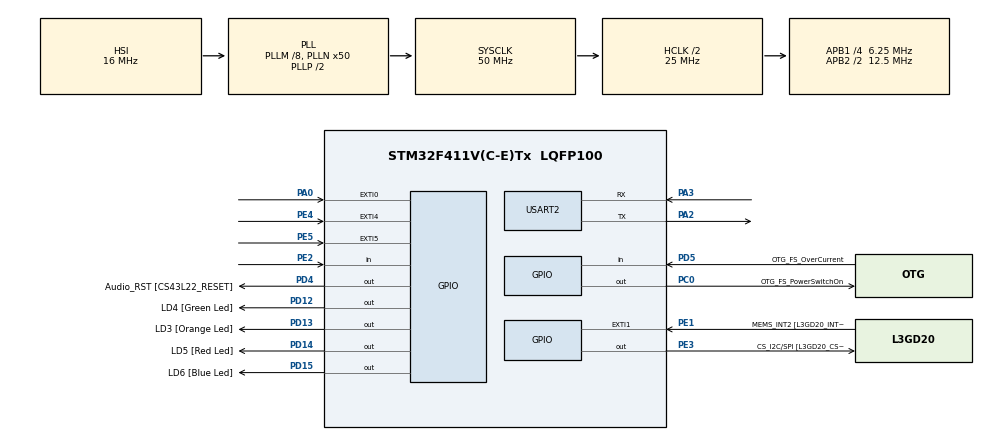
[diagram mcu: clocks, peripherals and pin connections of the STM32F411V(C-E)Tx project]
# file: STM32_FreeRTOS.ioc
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Mcu.Family=STM32F4
Mcu.Name=STM32F411V(C-E)Tx
Mcu.Package=LQFP100
NVIC.PriorityGroup=NVIC_PRIORITYGROUP_4
NVIC.TIM5_IRQn=true\:15\:0\:false\:false\:true\:false\:true\:true
NVIC.TimeBase=TIM5_IRQn
NVIC.TimeBaseIP=TIM5
NVIC.USART2_IRQn=true\:6\:0\:true\:false\:true\:true\:true\:true
PA0-WKUP.GPIO_ModeDefaultEXTI=GPIO_MODE_EVT_RISING
PA0-WKUP.Signal=GPXTI0
PA10.GPIO_Label=OTG_FS_ID
PA10.Signal=USB_OTG_FS_ID
PA11.GPIO_Label=OTG_FS_DM
PA11.Signal=USB_OTG_FS_DM
PA12.GPIO_Label=OTG_FS_DP
PA12.Signal=USB_OTG_FS_DP
PA13.GPIO_Label=SWDIO
PA13.Signal=SYS_JTMS-SWDIO
PA14.GPIO_Label=SWCLK
PA14.Signal=SYS_JTCK-SWCLK
PA2.Mode=Asynchronous
PA2.Signal=USART2_TX
PA3.Mode=Asynchronous
PA3.Signal=USART2_RX
PA4.GPIO_Label=I2S3_WS [CS43L22_LRCK]
PA4.GPIO_Mode=GPIO_MODE_AF_PP
PA4.GPIO_PuPd=GPIO_NOPULL
PA4.GPIO_Speed=GPIO_SPEED_FREQ_LOW
PA4.Signal=I2S3_WS
PA5.GPIO_Label=SPI1_SCK [L3GD20_SC/SPC]
PA5.Signal=SPI1_SCK
PA6.GPIO_Label=SPI1_MISO [L3GD20_AS0/SDO]
PA6.Signal=SPI1_MISO
PA7.GPIO_Label=SPI1_MOSI [L3GD20_SDA/SDI/SDO]
PA7.Signal=SPI1_MOSI
PA9.GPIO_Label=VBUS_FS
PA9.Signal=USB_OTG_FS_VBUS
PB10.GPIO_Label=CLK_IN [MP45DT02_CLK]
PB10.Signal=I2S2_CK
PB12.Signal=I2S2_WS
PB3.GPIO_Label=SWO
PB3.Signal=SYS_JTDO-SWO
PB6.GPIO_Label=Audio_SCL [CS43L22_SCL]
PB6.GPIO_Mode=GPIO_MODE_AF_OD
PB6.GPIO_PuPd=GPIO_NOPULL
PB6.GPIO_Speed=GPIO_SPEED_FREQ_LOW
PB6.Signal=I2C1_SCL
PB9.GPIO_Label=Audio_SDA [CS43L22_SDA]
PB9.GPIO_Mode=GPIO_MODE_AF_OD
PB9.GPIO_PuPd=GPIO_NOPULL
PB9.GPIO_Speed=GPIO_SPEED_FREQ_LOW
PB9.Signal=I2C1_SDA
PC0.GPIO_Label=OTG_FS_PowerSwitchOn
PC0.PinState=GPIO_PIN_SET
PC0.Signal=GPIO_Output
PC10.GPIO_Label=I2S3_SCK [CS43L22_SCLK]
PC10.GPIO_Mode=GPIO_MODE_AF_PP
PC10.GPIO_PuPd=GPIO_NOPULL
PC10.GPIO_Speed=GPIO_SPEED_FREQ_LOW
PC10.Signal=I2S3_CK
PC12.GPIO_Label=I2S3_SD [CS43L22_SDIN]
PC12.GPIO_Mode=GPIO_MODE_AF_PP
PC12.GPIO_PuPd=GPIO_NOPULL
PC12.GPIO_Speed=GPIO_SPEED_FREQ_LOW
PC12.Signal=I2S3_SD
PC14-OSC32_IN.GPIO_Label=PC14-OSC32_IN
PC14-OSC32_IN.Signal=RCC_OSC32_IN
PC15-OSC32_OUT.GPIO_Label=PC15-OSC32_OUT
PC15-OSC32_OUT.Signal=RCC_OSC32_OUT
PC3.GPIO_Label=PDM_OUT [MP45DT02_DOUT]
PC3.Signal=I2S2_SD
PC7.GPIO_Label=I2S3_MCK [CS43L22_MCLK]
PC7.GPIO_Mode=GPIO_MODE_AF_PP
PC7.GPIO_PuPd=GPIO_NOPULL
PC7.GPIO_Speed=GPIO_SPEED_FREQ_LOW
PC7.Signal=I2S3_MCK
PD12.GPIO_Label=LD4 [Green Led]
PD12.GPIO_PuPd=GPIO_NOPULL
PD12.GPIO_Speed=GPIO_SPEED_FREQ_LOW
PD12.Signal=GPIO_Output
PD13.GPIO_Label=LD3 [Orange Led]
PD13.GPIO_PuPd=GPIO_NOPULL
PD13.GPIO_Speed=GPIO_SPEED_FREQ_LOW
PD13.Signal=GPIO_Output
PD14.GPIO_Label=LD5 [Red Led]
PD14.GPIO_PuPd=GPIO_NOPULL
PD14.GPIO_Speed=GPIO_SPEED_FREQ_LOW
PD14.Signal=GPIO_Output
PD15.GPIO_Label=LD6 [Blue Led]
PD15.GPIO_PuPd=GPIO_NOPULL
PD15.GPIO_Speed=GPIO_SPEED_FREQ_LOW
PD15.Signal=GPIO_Output
PD4.GPIO_Label=Audio_RST [CS43L22_RESET]
PD4.Signal=GPIO_Output
PD5.GPIO_Label=OTG_FS_OverCurrent
PD5.Signal=GPIO_Input
PE1.GPIO_Label=MEMS_INT2 [L3GD20_INT2]
PE1.GPIO_ModeDefaultEXTI=GPIO_MODE_EVT_RISING
PE1.Signal=GPXTI1
PE2.Signal=GPIO_Input
PE3.GPIO_Label=CS_I2C/SPI [L3GD20_CS_I2C/SPI]
PE3.Signal=GPIO_Output
PE4.GPIO_ModeDefaultEXTI=GPIO_MODE_EVT_RISING
PE4.Signal=GPXTI4
PE5.GPIO_ModeDefaultEXTI=GPIO_MODE_EVT_RISING
PE5.Signal=GPXTI5
PH0\ -\ OSC_IN.GPIO_Label=PH0-OSC_IN
PH0\ -\ OSC_IN.Signal=RCC_OSC_IN
PH1\ -\ OSC_OUT.GPIO_Label=PH1-OSC_OUT
PH1\ -\ OSC_OUT.Signal=RCC_OSC_OUT
ProjectManager.HeapSize=0x200
ProjectManager.StackSize=0x400
ProjectManager.TargetToolchain=STM32CubeIDE
RCC.48MHZClocksFreq_Value=12500000
RCC.AHBCLKDivider=RCC_SYSCLK_DIV2
RCC.AHBFreq_Value=25000000
RCC.APB1CLKDivider=RCC_HCLK_DIV4
RCC.APB1Freq_Value=6250000
RCC.APB1TimFreq_Value=12500000
RCC.APB2CLKDivider=RCC_HCLK_DIV2
RCC.APB2Freq_Value=12500000
RCC.APB2TimFreq_Value=25000000
RCC.CortexFreq_Value=25000000
RCC.HCLKFreq_Value=25000000
RCC.HSE_VALUE=8000000
RCC.HSI_VALUE=16000000
RCC.LSE_VALUE=32768
RCC.PLLI2SM=5
RCC.PLLI2SN=200
RCC.PLLM=8
RCC.PLLN=50
RCC.PLLQ=8
RCC.SYSCLKFreq_VALUE=50000000
RCC.SYSCLKSource=RCC_SYSCLKSOURCE_PLLCLK
RCC.VCOOutputFreq_Value=100000000
RTC.HourFormat=RTC_HOURFORMAT_12
USART2.VirtualMode=VM_ASYNC
VP_RTC_VS_RTC_Activate.Mode=RTC_Enabled
VP_SYS_VS_tim5.Mode=TIM5
board=STM32F411E-DISCO

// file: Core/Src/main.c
/* USER CODE BEGIN Header */
/**
  ******************************************************************************
  * @file           : main.c
  * @brief          : Main program body
  ******************************************************************************
  * @attention
  *
  * Copyright (c) 2024 STMicroelectronics.
  * All rights reserved.
  *
  * This software is licensed under terms that can be found in the LICENSE file
  * in the root directory of this software component.
  * If no LICENSE file comes with this software, it is provided AS-IS.
  *
  ******************************************************************************
  */
/* USER CODE END Header */
#include "main.h"

RTC_HandleTypeDef hrtc;

UART_HandleTypeDef huart2;

/* USER CODE BEGIN PV */

xTaskHandle handle_cmd_task;
xTaskHandle handle_menu_task;
xTaskHandle handle_print_task;
xTaskHandle handle_led_task;
xTaskHandle handle_rtc_task;

QueueHandle_t q_data;
QueueHandle_t q_print;

volatile uint8_t user_data;

state_t curr_state = sMainMenu;

//software timers handles
TimerHandle_t handle_led_timer[4];
TimerHandle_t rtc_timer;

/* USER CODE END PV */

void SystemClock_Config(void);
static void MX_GPIO_Init(void);
static void MX_RTC_Init(void);
static void MX_USART2_UART_Init(void);
/* USER CODE BEGIN PFP */

void led_effect_callback(TimerHandle_t xTimer);
void rtc_report_callback(TimerHandle_t xTimer);

/* USER CODE END PFP */

int main(void)
{

  /* USER CODE BEGIN 1 */

	BaseType_t status;

  /* USER CODE END 1 */

  /* MCU Configuration--------------------------------------------------------*/

  /* Reset of all peripherals, Initializes the Flash interface and the Systick. */
  HAL_Init();

  /* Configure the system clock */
  SystemClock_Config();

  /* Initialize all configured peripherals */
  MX_GPIO_Init();
  MX_RTC_Init();
  MX_USART2_UART_Init();
  /* USER CODE BEGIN 2 */

  status = xTaskCreate(menu_task, "menu_task", 250, NULL, 2, &handle_menu_task);
  configASSERT(status == pdPASS);

  status = xTaskCreate(cmd_task, "cmd_task", 250, NULL, 2, &handle_cmd_task);
  configASSERT(status == pdPASS);

  status = xTaskCreate(print_task, "print_task", 250, NULL, 2, &handle_print_task);
  configASSERT(status == pdPASS);

  status = xTaskCreate(led_task, "led_task", 250, NULL, 2, &handle_led_task);
  configASSERT(status == pdPASS);

  status = xTaskCreate(rtc_task, "rtc_task", 250, NULL, 2, &handle_rtc_task);
  configASSERT(status == pdPASS);

  q_data = xQueueCreate(10, sizeof(uint8_t));
  configASSERT(q_data != NULL);

  q_print = xQueueCreate(10, sizeof(size_t));
  configASSERT(q_print != NULL);

  //Create software timers for LED effect
  for(int i = 0; i < 4; ++i){
	  handle_led_timer[i] = xTimerCreate("led_timer", pdMS_TO_TICKS(500), pdTRUE, (void*)(i + 1), led_effect_callback);
  }

  rtc_timer = xTimerCreate ("rtc_report_timer", pdMS_TO_TICKS(1000), pdTRUE, NULL, rtc_report_callback);

  HAL_UART_Receive_IT(&huart2, (uint8_t*)&user_data, 1);

  vTaskStartScheduler();

  /* USER CODE END 2 */

  /* Infinite loop */
  while (1)
  {

  }
}

void SystemClock_Config(void)
{
  RCC_OscInitTypeDef RCC_OscInitStruct = {0};
  RCC_ClkInitTypeDef RCC_ClkInitStruct = {0};

  /** Configure the main internal regulator output voltage
  */
  __HAL_RCC_PWR_CLK_ENABLE();
  __HAL_PWR_VOLTAGESCALING_CONFIG(PWR_REGULATOR_VOLTAGE_SCALE1);

  /** Initializes the RCC Oscillators according to the specified parameters
  * in the RCC_OscInitTypeDef structure.
  */
  RCC_OscInitStruct.OscillatorType = RCC_OSCILLATORTYPE_HSI|RCC_OSCILLATORTYPE_LSI;
  RCC_OscInitStruct.HSIState = RCC_HSI_ON;
  RCC_OscInitStruct.HSICalibrationValue = RCC_HSICALIBRATION_DEFAULT;
  RCC_OscInitStruct.LSIState = RCC_LSI_ON;
  RCC_OscInitStruct.PLL.PLLState = RCC_PLL_ON;
  RCC_OscInitStruct.PLL.PLLSource = RCC_PLLSOURCE_HSI;
  RCC_OscInitStruct.PLL.PLLM = 8;
  RCC_OscInitStruct.PLL.PLLN = 50;
  RCC_OscInitStruct.PLL.PLLP = RCC_PLLP_DIV2;
  RCC_OscInitStruct.PLL.PLLQ = 8;
  if (HAL_RCC_OscConfig(&RCC_OscInitStruct) != HAL_OK)
  {
    Error_Handler();
  }

  /** Initializes the CPU, AHB and APB buses clocks
  */
  RCC_ClkInitStruct.ClockType = RCC_CLOCKTYPE_HCLK|RCC_CLOCKTYPE_SYSCLK
                              |RCC_CLOCKTYPE_PCLK1|RCC_CLOCKTYPE_PCLK2;
  RCC_ClkInitStruct.SYSCLKSource = RCC_SYSCLKSOURCE_PLLCLK;
  RCC_ClkInitStruct.AHBCLKDivider = RCC_SYSCLK_DIV2;
  RCC_ClkInitStruct.APB1CLKDivider = RCC_HCLK_DIV4;
  RCC_ClkInitStruct.APB2CLKDivider = RCC_HCLK_DIV2;

  if (HAL_RCC_ClockConfig(&RCC_ClkInitStruct, FLASH_LATENCY_0) != HAL_OK)
  {
    Error_Handler();
  }
}

static void MX_RTC_Init(void)
{

  /** Initialize RTC Only
  */
  hrtc.Instance = RTC;
  hrtc.Init.HourFormat = RTC_HOURFORMAT_12;
  hrtc.Init.AsynchPrediv = 127;
  hrtc.Init.SynchPrediv = 255;
  hrtc.Init.OutPut = RTC_OUTPUT_DISABLE;
  hrtc.Init.OutPutPolarity = RTC_OUTPUT_POLARITY_HIGH;
  hrtc.Init.OutPutType = RTC_OUTPUT_TYPE_OPENDRAIN;
  if (HAL_RTC_Init(&hrtc) != HAL_OK)
  {
    Error_Handler();
  }

}

static void MX_USART2_UART_Init(void)
{

  huart2.Instance = USART2;
  huart2.Init.BaudRate = 115200;
  huart2.Init.WordLength = UART_WORDLENGTH_8B;
  huart2.Init.StopBits = UART_STOPBITS_1;
  huart2.Init.Parity = UART_PARITY_NONE;
  huart2.Init.Mode = UART_MODE_TX_RX;
  huart2.Init.HwFlowCtl = UART_HWCONTROL_NONE;
  huart2.Init.OverSampling = UART_OVERSAMPLING_16;
  if (HAL_UART_Init(&huart2) != HAL_OK)
  {
    Error_Handler();
  }

}

static void MX_GPIO_Init(void)
{
  GPIO_InitTypeDef GPIO_InitStruct = {0};

  /* GPIO Ports Clock Enable */
  __HAL_RCC_GPIOE_CLK_ENABLE();
  __HAL_RCC_GPIOC_CLK_ENABLE();
  __HAL_RCC_GPIOH_CLK_ENABLE();
  __HAL_RCC_GPIOA_CLK_ENABLE();
  __HAL_RCC_GPIOB_CLK_ENABLE();
  __HAL_RCC_GPIOD_CLK_ENABLE();

  /*Configure GPIO pin Output Level */
  HAL_GPIO_WritePin(CS_I2C_SPI_GPIO_Port, CS_I2C_SPI_Pin, GPIO_PIN_RESET);

  /*Configure GPIO pin Output Level */
  HAL_GPIO_WritePin(OTG_FS_PowerSwitchOn_GPIO_Port, OTG_FS_PowerSwitchOn_Pin, GPIO_PIN_SET);

  /*Configure GPIO pin Output Level */
  HAL_GPIO_WritePin(GPIOD, LD4_Pin|LD3_Pin|LD5_Pin|LD6_Pin
                          |Audio_RST_Pin, GPIO_PIN_RESET);

  /*Configure GPIO pin : PE2 */
  GPIO_InitStruct.Pin = GPIO_PIN_2;
  GPIO_InitStruct.Mode = GPIO_MODE_INPUT;
  GPIO_InitStruct.Pull = GPIO_NOPULL;
  HAL_GPIO_Init(GPIOE, &GPIO_InitStruct);

  /*Configure GPIO pin : CS_I2C_SPI_Pin */
  GPIO_InitStruct.Pin = CS_I2C_SPI_Pin;
  GPIO_InitStruct.Mode = GPIO_MODE_OUTPUT_PP;
  GPIO_InitStruct.Pull = GPIO_NOPULL;
  GPIO_InitStruct.Speed = GPIO_SPEED_FREQ_LOW;
  HAL_GPIO_Init(CS_I2C_SPI_GPIO_Port, &GPIO_InitStruct);

  /*Configure GPIO pins : PE4 PE5 MEMS_INT2_Pin */
  GPIO_InitStruct.Pin = GPIO_PIN_4|GPIO_PIN_5|MEMS_INT2_Pin;
  GPIO_InitStruct.Mode = GPIO_MODE_EVT_RISING;
  GPIO_InitStruct.Pull = GPIO_NOPULL;
  HAL_GPIO_Init(GPIOE, &GPIO_InitStruct);

  /*Configure GPIO pin : OTG_FS_PowerSwitchOn_Pin */
  GPIO_InitStruct.Pin = OTG_FS_PowerSwitchOn_Pin;
  GPIO_InitStruct.Mode = GPIO_MODE_OUTPUT_PP;
  GPIO_InitStruct.Pull = GPIO_NOPULL;
  GPIO_InitStruct.Speed = GPIO_SPEED_FREQ_LOW;
  HAL_GPIO_Init(OTG_FS_PowerSwitchOn_GPIO_Port, &GPIO_InitStruct);

  /*Configure GPIO pin : PDM_OUT_Pin */
  GPIO_InitStruct.Pin = PDM_OUT_Pin;
  GPIO_InitStruct.Mode = GPIO_MODE_AF_PP;
  GPIO_InitStruct.Pull = GPIO_NOPULL;
  GPIO_InitStruct.Speed = GPIO_SPEED_FREQ_LOW;
  GPIO_InitStruct.Alternate = GPIO_AF5_SPI2;
  HAL_GPIO_Init(PDM_OUT_GPIO_Port, &GPIO_InitStruct);

  /*Configure GPIO pin : PA0 */
  GPIO_InitStruct.Pin = GPIO_PIN_0;
  GPIO_InitStruct.Mode = GPIO_MODE_EVT_RISING;
  GPIO_InitStruct.Pull = GPIO_NOPULL;
  HAL_GPIO_Init(GPIOA, &GPIO_InitStruct);

  /*Configure GPIO pin : I2S3_WS_Pin */
  GPIO_InitStruct.Pin = I2S3_WS_Pin;
  GPIO_InitStruct.Mode = GPIO_MODE_AF_PP;
  GPIO_InitStruct.Pull = GPIO_NOPULL;
  GPIO_InitStruct.Speed = GPIO_SPEED_FREQ_LOW;
  GPIO_InitStruct.Alternate = GPIO_AF6_SPI3;
  HAL_GPIO_Init(I2S3_WS_GPIO_Port, &GPIO_InitStruct);

  /*Configure GPIO pins : SPI1_SCK_Pin SPI1_MISO_Pin SPI1_MOSI_Pin */
  GPIO_InitStruct.Pin = SPI1_SCK_Pin|SPI1_MISO_Pin|SPI1_MOSI_Pin;
  GPIO_InitStruct.Mode = GPIO_MODE_AF_PP;
  GPIO_InitStruct.Pull = GPIO_NOPULL;
  GPIO_InitStruct.Speed = GPIO_SPEED_FREQ_VERY_HIGH;
  GPIO_InitStruct.Alternate = GPIO_AF5_SPI1;
  HAL_GPIO_Init(GPIOA, &GPIO_InitStruct);

  /*Configure GPIO pins : CLK_IN_Pin PB12 */
  GPIO_InitStruct.Pin = CLK_IN_Pin|GPIO_PIN_12;
  GPIO_InitStruct.Mode = GPIO_MODE_AF_PP;
  GPIO_InitStruct.Pull = GPIO_NOPULL;
  GPIO_InitStruct.Speed = GPIO_SPEED_FREQ_LOW;
  GPIO_InitStruct.Alternate = GPIO_AF5_SPI2;
  HAL_GPIO_Init(GPIOB, &GPIO_InitStruct);

  /*Configure GPIO pins : LD4_Pin LD3_Pin LD5_Pin LD6_Pin
                           Audio_RST_Pin */
  GPIO_InitStruct.Pin = LD4_Pin|LD3_Pin|LD5_Pin|LD6_Pin
                          |Audio_RST_Pin;
  GPIO_InitStruct.Mode = GPIO_MODE_OUTPUT_PP;
  GPIO_InitStruct.Pull = GPIO_NOPULL;
  GPIO_InitStruct.Speed = GPIO_SPEED_FREQ_LOW;
  HAL_GPIO_Init(GPIOD, &GPIO_InitStruct);

  /*Configure GPIO pins : I2S3_MCK_Pin I2S3_SCK_Pin I2S3_SD_Pin */
  GPIO_InitStruct.Pin = I2S3_MCK_Pin|I2S3_SCK_Pin|I2S3_SD_Pin;
  GPIO_InitStruct.Mode = GPIO_MODE_AF_PP;
  GPIO_InitStruct.Pull = GPIO_NOPULL;
  GPIO_InitStruct.Speed = GPIO_SPEED_FREQ_LOW;
  GPIO_InitStruct.Alternate = GPIO_AF6_SPI3;
  HAL_GPIO_Init(GPIOC, &GPIO_InitStruct);

  /*Configure GPIO pin : VBUS_FS_Pin */
  GPIO_InitStruct.Pin = VBUS_FS_Pin;
  GPIO_InitStruct.Mode = GPIO_MODE_INPUT;
  GPIO_InitStruct.Pull = GPIO_NOPULL;
  HAL_GPIO_Init(VBUS_FS_GPIO_Port, &GPIO_InitStruct);

  /*Configure GPIO pins : OTG_FS_ID_Pin OTG_FS_DM_Pin OTG_FS_DP_Pin */
  GPIO_InitStruct.Pin = OTG_FS_ID_Pin|OTG_FS_DM_Pin|OTG_FS_DP_Pin;
  GPIO_InitStruct.Mode = GPIO_MODE_AF_PP;
  GPIO_InitStruct.Pull = GPIO_NOPULL;
  GPIO_InitStruct.Speed = GPIO_SPEED_FREQ_VERY_HIGH;
  GPIO_InitStruct.Alternate = GPIO_AF10_OTG_FS;
  HAL_GPIO_Init(GPIOA, &GPIO_InitStruct);

  /*Configure GPIO pin : OTG_FS_OverCurrent_Pin */
  GPIO_InitStruct.Pin = OTG_FS_OverCurrent_Pin;
  GPIO_InitStruct.Mode = GPIO_MODE_INPUT;
  GPIO_InitStruct.Pull = GPIO_NOPULL;
  HAL_GPIO_Init(OTG_FS_OverCurrent_GPIO_Port, &GPIO_InitStruct);

  /*Configure GPIO pins : Audio_SCL_Pin Audio_SDA_Pin */
  GPIO_InitStruct.Pin = Audio_SCL_Pin|Audio_SDA_Pin;
  GPIO_InitStruct.Mode = GPIO_MODE_AF_OD;
  GPIO_InitStruct.Pull = GPIO_NOPULL;
  GPIO_InitStruct.Speed = GPIO_SPEED_FREQ_LOW;
  GPIO_InitStruct.Alternate = GPIO_AF4_I2C1;
  HAL_GPIO_Init(GPIOB, &GPIO_InitStruct);

}

/* USER CODE BEGIN 4 */

void rtc_report_callback(TimerHandle_t xTimer)
{
	show_time_date_itm();
}

void led_effect_callback(TimerHandle_t xTimer)
{
	int id;
	id = (uint32_t) pvTimerGetTimerID(xTimer);

	switch (id) {
	case 1:
		LED_effect1();
		break;
	case 2:
		LED_effect2();
		break;
	case 3:
		LED_effect3();
		break;
	case 4:
		LED_effect4();
		break;

	}
}

void HAL_UART_RxCpltCallback(UART_HandleTypeDef *huart)
{
	uint8_t temp;
	BaseType_t q_status;
	q_status = xQueueIsQueueFullFromISR(q_data);

	if(q_status == pdFALSE){
		/*Queue is not full */

		/*Enqueue data type */
		xQueueSendFromISR(q_data, (void*)&user_data, NULL);

	} else{
		/*Queue is full */

		if(user_data == '\n'){
			xQueueReceiveFromISR(q_data, (void*)&temp, NULL);
			xQueueSendFromISR(q_data, (void*)&user_data, NULL);
		}
	}

	/*send notification to command handling task if user_data = '\n' */
	if(user_data == '\n'){
		xTaskNotifyFromISR(handle_cmd_task, 0, eNoAction, NULL);
	}

	/*enable UART data byte reception again in IT mode*/
	HAL_UART_Receive_IT(&huart2, (uint8_t*)&user_data, 1);

}

/* USER CODE END 4 */

void HAL_TIM_PeriodElapsedCallback(TIM_HandleTypeDef *htim)
{
  if (htim->Instance == TIM5) {
    HAL_IncTick();
  }
}

void Error_Handler(void)
{
  __disable_irq();
  while (1)
  {
  }
}
